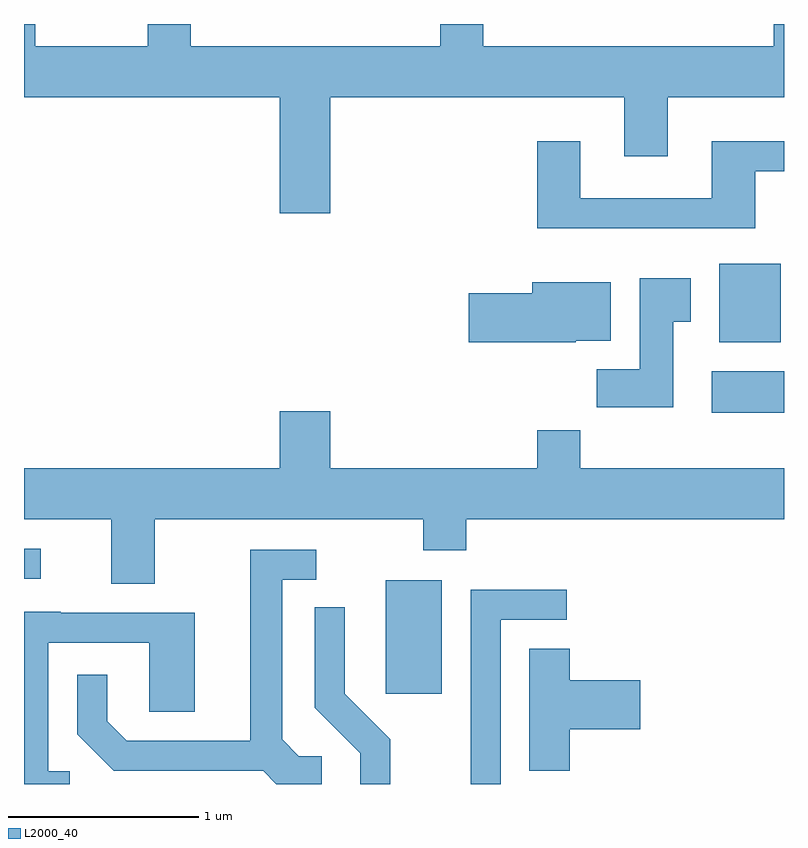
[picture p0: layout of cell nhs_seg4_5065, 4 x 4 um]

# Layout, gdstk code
import gdstk
lib = gdstk.Library(unit=1e-6, precision=1e-09)
def R(c, l, rs):  # rectangles x0, y0, x1, y1
    for r in rs: c.add(gdstk.rectangle(r[:2], r[2:], *l))
def P(c, l, *ps):  # polygons
    for p in ps: c.add(gdstk.Polygon(p, *l))
L2000_40 = (2000, 40)

nhs_seg4_5065 = lib.new_cell('nhs_seg4_5065')
R(nhs_seg4_5065, L2000_40, [(335.516,1320.456,335.809,1321.054), (333.611,1321.061,333.698,1321.219), (337.231,1321.936,337.611,1322.154), (337.271,1322.306,337.594,1322.719)])
P(nhs_seg4_5065, L2000_40, [(335.224,1323.596),(336.771,1323.596),(336.771,1323.286),(336.999,1323.286),(336.999,1323.596),(337.611,1323.596),(337.611,1323.982),(337.556,1323.982),(337.556,1323.864),(336.029,1323.864),(336.029,1323.982),(335.801,1323.982),(335.801,1323.864),(334.489,1323.864),(334.489,1323.982),(334.261,1323.982),(334.261,1323.864),(333.669,1323.864),(333.669,1323.982),(333.611,1323.982),(333.611,1323.596),(334.956,1323.596),(334.956,1322.986),(335.224,1322.986)],
  [(337.459,1323.206),(337.611,1323.206),(337.611,1323.364),(337.231,1323.364),(337.231,1323.064),(336.539,1323.064),(336.539,1323.364),(336.311,1323.364),(336.311,1322.906),(337.459,1322.906)],
  [(337.029,1322.416),(337.119,1322.416),(337.119,1322.644),(336.851,1322.644),(336.851,1322.164),(336.626,1322.164),(336.626,1321.966),(337.029,1321.966)],
  [(336.515,1322.316),(336.699,1322.316),(336.699,1322.624),(336.286,1322.624),(336.286,1322.564),(335.951,1322.564),(335.951,1322.306),(336.515,1322.306)],
  [(334.299,1321.376),(335.711,1321.376),(335.711,1321.211),(335.939,1321.211),(335.939,1321.376),(337.611,1321.376),(337.611,1321.644),(336.539,1321.644),(336.539,1321.844),(336.311,1321.844),(336.311,1321.644),(335.224,1321.644),(335.224,1321.944),(334.956,1321.944),(334.956,1321.644),(333.611,1321.644),(333.611,1321.376),(334.071,1321.376),(334.071,1321.036),(334.299,1321.036)],
  [(335.178,1320.129),(335.057,1320.129),(334.969,1320.217),(334.969,1321.056),(335.148,1321.056),(335.148,1321.214),(334.801,1321.214),(334.801,1320.209),(334.152,1320.209),(334.049,1320.312),(334.049,1320.558),(333.891,1320.558),(333.891,1320.244),(334.084,1320.051),(334.869,1320.051),(334.938,1319.982),(335.178,1319.982)],
  [(336.119,1320.846),(336.468,1320.846),(336.468,1321.004),(335.961,1321.004),(335.961,1319.982),(336.119,1319.982)],
  [(335.539,1320.217),(335.299,1320.457),(335.299,1320.913),(335.141,1320.913),(335.141,1320.384),(335.381,1320.144),(335.381,1319.982),(335.539,1319.982)],
  [(333.853,1320.049),(333.739,1320.049),(333.739,1320.726),(334.271,1320.726),(334.271,1320.361),(334.509,1320.361),(334.509,1320.884),(333.805,1320.884),(333.805,1320.889),(333.611,1320.889),(333.611,1319.982),(333.853,1319.982)],
  [(336.484,1320.271),(336.854,1320.271),(336.854,1320.529),(336.484,1320.529),(336.484,1320.694),(336.271,1320.694),(336.271,1320.051),(336.484,1320.051)])

lib.write_gds('nhs_seg4_5065.gds')
